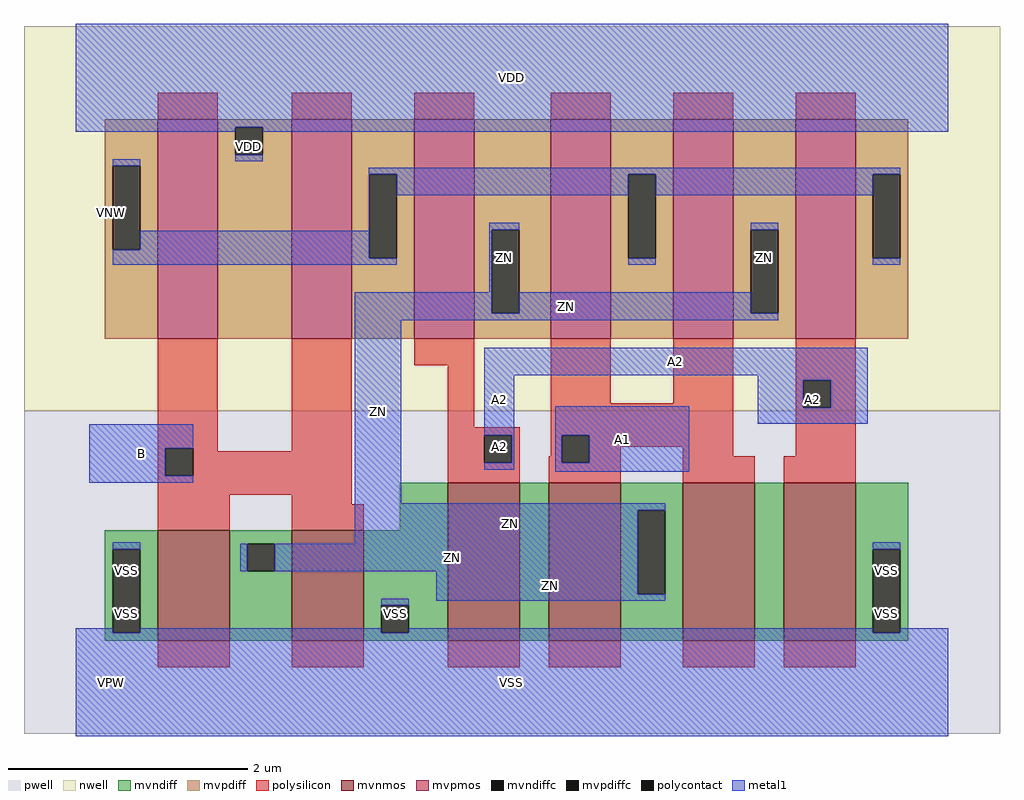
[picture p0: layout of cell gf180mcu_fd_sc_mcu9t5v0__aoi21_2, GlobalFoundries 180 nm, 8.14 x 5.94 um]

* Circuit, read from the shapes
.subckt gf180mcu_fd_sc_mcu9t5v0__aoi21_2 A1 A2 B ZN VDD VNW VPW VSS
XM1 ZN B VSS VPW nfet_06v0 w=0.92u l=0.6u m=2
XM2 n1 A2 VSS VPW nfet_06v0 w=1.32u l=0.6u
XM3 ZN A1 n1 VPW nfet_06v0 w=1.32u l=0.6u
XM4 n2 A1 ZN VPW nfet_06v0 w=1.32u l=0.6u
XM5 VSS A2 n2 VPW nfet_06v0 w=1.32u l=0.6u
XM6 VDD B n3 VNW pfet_06v0 w=1.83u l=0.5u m=2
XM7 ZN A2 n3 VNW pfet_06v0 w=1.83u l=0.5u m=2
XM8 n3 A1 ZN VNW pfet_06v0 w=1.83u l=0.5u m=2
.ends

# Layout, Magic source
magic
tech gf180mcuD
magscale 1 10
<< nwell >>
rect -86 453 1542 1094
<< pwell >>
rect -86 -86 1542 453
<< mvnmos >>
rect 137 69 257 253
rect 361 69 481 253
rect 621 69 741 333
rect 789 69 909 333
rect 1013 69 1133 333
rect 1181 69 1301 333
<< mvpmos >>
rect 137 573 237 939
rect 361 573 461 939
rect 565 573 665 939
rect 793 573 893 939
rect 997 573 1097 939
rect 1201 573 1301 939
<< mvndiff >>
rect 541 253 621 333
rect 49 222 137 253
rect 49 82 62 222
rect 108 82 137 222
rect 49 69 137 82
rect 257 231 361 253
rect 257 185 286 231
rect 332 185 361 231
rect 257 69 361 185
rect 481 128 621 253
rect 481 82 510 128
rect 556 82 621 128
rect 481 69 621 82
rect 741 69 789 333
rect 909 287 1013 333
rect 909 147 938 287
rect 984 147 1013 287
rect 909 69 1013 147
rect 1133 69 1181 333
rect 1301 222 1389 333
rect 1301 82 1330 222
rect 1376 82 1389 222
rect 1301 69 1389 82
<< mvpdiff >>
rect 49 861 137 939
rect 49 721 62 861
rect 108 721 137 861
rect 49 573 137 721
rect 237 926 361 939
rect 237 880 266 926
rect 312 880 361 926
rect 237 573 361 880
rect 461 847 565 939
rect 461 707 490 847
rect 536 707 565 847
rect 461 573 565 707
rect 665 755 793 939
rect 665 615 694 755
rect 740 615 793 755
rect 665 573 793 615
rect 893 847 997 939
rect 893 707 922 847
rect 968 707 997 847
rect 893 573 997 707
rect 1097 755 1201 939
rect 1097 615 1126 755
rect 1172 615 1201 755
rect 1097 573 1201 615
rect 1301 847 1389 939
rect 1301 707 1330 847
rect 1376 707 1389 847
rect 1301 573 1389 707
<< mvndiffc >>
rect 62 82 108 222
rect 286 185 332 231
rect 510 82 556 128
rect 938 147 984 287
rect 1330 82 1376 222
<< mvpdiffc >>
rect 62 721 108 861
rect 266 880 312 926
rect 490 707 536 847
rect 694 615 740 755
rect 922 707 968 847
rect 1126 615 1172 755
rect 1330 707 1376 847
<< polysilicon >>
rect 137 939 237 983
rect 361 939 461 983
rect 565 939 665 983
rect 793 939 893 983
rect 997 939 1097 983
rect 1201 939 1301 983
rect 137 390 237 573
rect 137 344 150 390
rect 196 385 237 390
rect 361 385 461 573
rect 565 529 665 573
rect 196 344 461 385
rect 137 313 461 344
rect 621 425 665 529
rect 793 465 893 573
rect 997 465 1097 573
rect 621 412 741 425
rect 621 366 682 412
rect 728 366 741 412
rect 793 412 1097 465
rect 793 377 811 412
rect 621 333 741 366
rect 789 366 811 377
rect 857 393 1097 412
rect 857 366 909 393
rect 789 333 909 366
rect 1013 377 1097 393
rect 1201 504 1301 573
rect 1201 458 1214 504
rect 1260 458 1301 504
rect 1201 377 1301 458
rect 1013 333 1133 377
rect 1181 333 1301 377
rect 137 253 257 313
rect 361 297 461 313
rect 361 253 481 297
rect 137 25 257 69
rect 361 25 481 69
rect 621 25 741 69
rect 789 25 909 69
rect 1013 25 1133 69
rect 1181 25 1301 69
<< polycontact >>
rect 150 344 196 390
rect 682 366 728 412
rect 811 366 857 412
rect 1214 458 1260 504
<< metal1 >>
rect 0 926 1456 1098
rect 0 918 266 926
rect 312 918 1456 926
rect 62 861 108 872
rect 266 869 312 880
rect 489 847 1376 858
rect 489 753 490 847
rect 108 721 490 753
rect 62 707 490 721
rect 536 812 922 847
rect 62 696 536 707
rect 690 755 740 766
rect 690 650 694 755
rect 466 615 694 650
rect 968 812 1330 847
rect 922 696 968 707
rect 1126 755 1172 766
rect 740 615 1126 650
rect 1330 696 1376 707
rect 466 604 1172 615
rect 23 390 196 430
rect 23 344 150 390
rect 23 333 196 344
rect 466 298 543 604
rect 682 512 1321 558
rect 682 412 732 512
rect 1138 504 1321 512
rect 728 366 732 412
rect 682 354 732 366
rect 800 412 1024 460
rect 1138 458 1214 504
rect 1260 458 1321 504
rect 1138 431 1321 458
rect 800 366 811 412
rect 857 366 1024 412
rect 800 351 1024 366
rect 466 287 984 298
rect 62 222 108 233
rect 466 231 938 287
rect 0 82 62 90
rect 275 185 286 231
rect 332 185 938 231
rect 602 147 938 185
rect 510 128 556 139
rect 602 136 984 147
rect 1330 222 1376 233
rect 108 82 510 90
rect 556 82 1330 90
rect 1376 82 1456 90
rect 0 -90 1456 82
<< labels >>
flabel metal1 s 800 351 1024 460 0 FreeSans 200 0 0 0 A1
port 1 nsew default input
flabel metal1 s 682 512 1321 558 0 FreeSans 200 0 0 0 A2
port 2 nsew default input
flabel metal1 s 23 333 196 430 0 FreeSans 200 0 0 0 B
port 3 nsew default input
flabel metal1 s 0 918 1456 1098 0 FreeSans 200 0 0 0 VDD
port 5 nsew power bidirectional abutment
flabel metal1 s 1330 139 1376 233 0 FreeSans 200 0 0 0 VSS
port 8 nsew ground bidirectional abutment
flabel metal1 s 1126 650 1172 766 0 FreeSans 200 0 0 0 ZN
port 4 nsew default output
flabel nwell s 10 734 110 834 0 FreeSans 400 0 0 0 VNW
port 6 nsew power bidirectional
flabel pwell s 10 -50 110 50 0 FreeSans 400 0 0 0 VPW
port 7 nsew ground bidirectional
rlabel metal1 s 1138 431 1321 512 1 A2
port 2 nsew default input
rlabel metal1 s 682 431 732 512 1 A2
port 2 nsew default input
rlabel metal1 s 682 354 732 431 1 A2
port 2 nsew default input
rlabel metal1 s 690 650 740 766 1 ZN
port 4 nsew default output
rlabel metal1 s 466 604 1172 650 1 ZN
port 4 nsew default output
rlabel metal1 s 466 298 543 604 1 ZN
port 4 nsew default output
rlabel metal1 s 466 231 984 298 1 ZN
port 4 nsew default output
rlabel metal1 s 275 185 984 231 1 ZN
port 4 nsew default output
rlabel metal1 s 602 136 984 185 1 ZN
port 4 nsew default output
rlabel metal1 s 266 869 312 918 1 VDD
port 5 nsew power bidirectional abutment
rlabel metal1 s 62 139 108 233 1 VSS
port 8 nsew ground bidirectional abutment
rlabel metal1 s 1330 90 1376 139 1 VSS
port 8 nsew ground bidirectional abutment
rlabel metal1 s 510 90 556 139 1 VSS
port 8 nsew ground bidirectional abutment
rlabel metal1 s 62 90 108 139 1 VSS
port 8 nsew ground bidirectional abutment
rlabel metal1 s 0 -90 1456 90 1 VSS
port 8 nsew ground bidirectional abutment
<< properties >>
string FIXED_BBOX 0 0 1456 1008
string GDS_END 1174706
string GDS_FILE $PDKPATH/libs.ref/gf180mcu_fd_sc_mcu9t5v0/gds/gf180mcu_fd_sc_mcu9t5v0.gds
string GDS_START 1170384
string LEFclass core
string LEFsite GF018hv5v_green_sc9
string LEFsymmetry X Y
<< end >>
